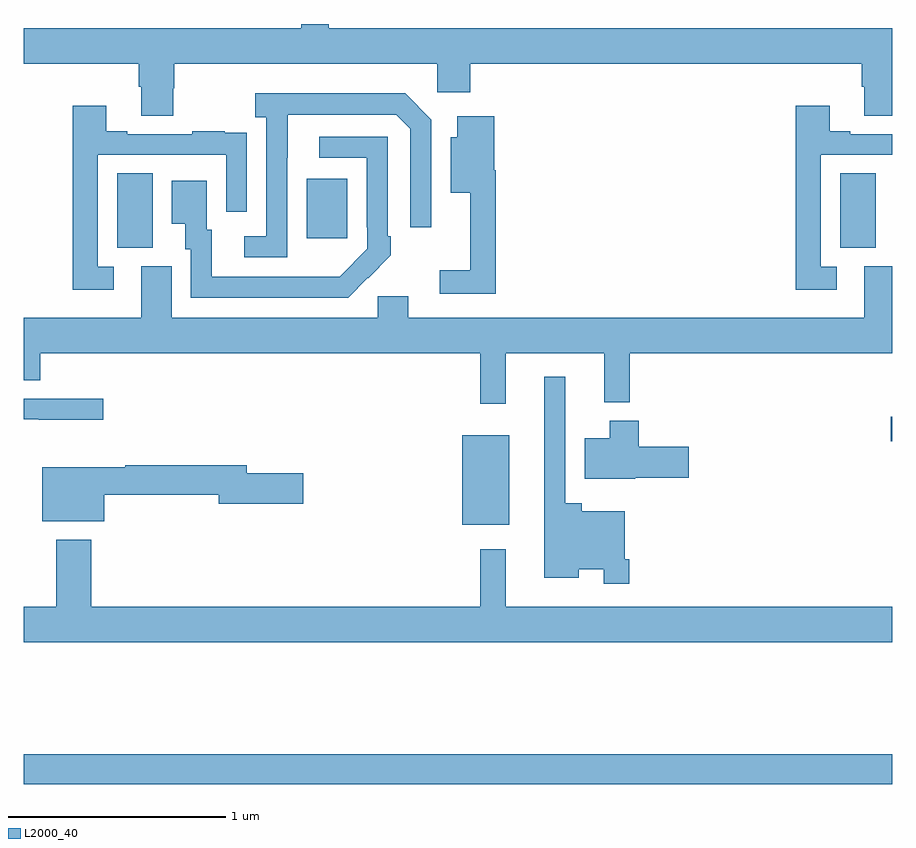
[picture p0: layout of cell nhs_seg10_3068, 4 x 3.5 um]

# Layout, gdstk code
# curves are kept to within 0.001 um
import gdstk
lib = gdstk.Library(unit=1e-6, precision=1e-09)
def R(c, l, rs):  # rectangles x0, y0, x1, y1
    for r in rs: c.add(gdstk.rectangle(r[:2], r[2:], *l))
def P(c, l, *ps):  # polygons
    for p in ps: c.add(gdstk.Polygon(p, *l))
L2000_40 = (2000, 40)

nhs_seg10_3068 = lib.new_cell('nhs_seg10_3068')
R(nhs_seg10_3068, L2000_40, [(277,1297,281,1297.136), (279.02,1298.195,279.235,1298.605), (280.994,1298.579,281,1298.692), (277.43,1299.469,277.594,1299.812), (280.76,1299.469,280.924,1299.812), (278.303,1299.513,278.491,1299.787)])
P(nhs_seg10_3068, L2000_40, [(278.904,1300.185),(279.056,1300.185),(279.056,1300.316),(280.859,1300.316),(280.859,1300.21),(280.871,1300.21),(280.871,1300.078),(281,1300.078),(281,1300.48),(278.405,1300.48),(278.405,1300.5),(278.277,1300.5),(278.277,1300.48),(277,1300.48),(277,1300.316),(277.529,1300.316),(277.529,1300.21),(277.541,1300.21),(277.541,1300.078),(277.689,1300.078),(277.689,1300.203),(277.694,1300.203),(277.694,1300.316),(278.904,1300.316)],
  [(278.214,1299.883),(278.215,1300.083),(278.715,1300.083),(278.781,1300.017),(278.781,1299.564),(278.877,1299.564),(278.877,1300.059),(278.756,1300.18),(278.067,1300.18),(278.067,1300.07),(278.118,1300.07),(278.118,1299.522),(278.016,1299.522),(278.016,1299.426),(278.214,1299.426)],
  [(280.744,1299.381),(280.671,1299.381),(280.671,1299.897),(281,1299.897),(281,1299.993),(280.807,1299.993),(280.807,1300.006),(280.711,1300.006),(280.711,1300.123),(280.555,1300.123),(280.555,1299.276),(280.744,1299.276)],
  [(277.414,1299.381),(277.341,1299.381),(277.341,1299.897),(277.932,1299.897),(277.932,1299.636),(278.028,1299.636),(278.028,1299.89),(278.027,1299.89),(278.027,1299.999),(277.925,1299.999),(277.925,1300.006),(277.777,1300.006),(277.777,1299.993),(277.477,1299.993),(277.477,1300.006),(277.381,1300.006),(277.381,1300.123),(277.225,1300.123),(277.225,1299.276),(277.414,1299.276)],
  [(279.173,1299.826),(279.167,1299.826),(279.167,1300.075),(278.996,1300.075),(278.996,1299.979),(278.966,1299.979),(278.966,1299.722),(279.056,1299.722),(279.056,1299.367),(278.916,1299.367),(278.916,1299.258),(279.173,1299.258)],
  [(278.585,1299.331),(278.586,1299.33),(278.691,1299.435),(278.691,1299.523),(278.676,1299.523),(278.676,1299.981),(278.361,1299.981),(278.361,1299.885),(278.58,1299.885),(278.58,1299.565),(278.583,1299.565),(278.583,1299.465),(278.455,1299.337),(277.867,1299.336),(277.867,1299.552),(277.843,1299.552),(277.843,1299.778),(277.682,1299.778),(277.682,1299.581),(277.745,1299.581),(277.745,1299.462),(277.77,1299.462),(277.77,1299.24),(278.494,1299.24)],
  [(279.221,1298.984),(279.674,1298.984),(279.674,1298.759),(279.791,1298.759),(279.791,1298.984),(281,1298.984),(281,1299.384),(280.871,1299.384),(280.871,1299.148),(278.77,1299.148),(278.77,1299.246),(278.631,1299.246),(278.631,1299.148),(277.681,1299.148),(277.681,1299.384),(277.541,1299.384),(277.541,1299.148),(277,1299.148),(277,1298.86),(277.076,1298.86),(277.076,1298.984),(279.103,1298.984),(279.103,1298.751),(279.221,1298.751)],
  [(279.788,1298.035),(279.768,1298.035),(279.768,1298.257),(279.569,1298.257),(279.569,1298.293),(279.495,1298.293),(279.495,1298.875),(279.398,1298.875),(279.398,1297.949),(279.556,1297.949),(279.556,1297.988),(279.672,1297.988),(279.672,1297.923),(279.788,1297.923)],
  [(277.366,1298.775),(277,1298.775),(277,1298.679),(277.069,1298.679),(277.069,1298.677),(277.366,1298.677)],
  [(279.816,1298.411),(280.063,1298.411),(280.063,1298.553),(279.833,1298.553),(279.833,1298.674),(279.698,1298.674),(279.698,1298.593),(279.584,1298.593),(279.584,1298.405),(279.816,1298.405)],
  [(277.372,1298.332),(277.898,1298.332),(277.898,1298.29),(278.287,1298.29),(278.287,1298.432),(278.026,1298.432),(278.026,1298.468),(277.468,1298.468),(277.468,1298.458),(277.085,1298.458),(277.085,1298.21),(277.372,1298.21)],
  [(281,1297.816),(279.22,1297.816),(279.22,1298.08),(279.103,1298.08),(279.103,1297.816),(277.31,1297.816),(277.31,1298.125),(277.15,1298.125),(277.15,1297.816),(277,1297.816),(277,1297.652),(281,1297.652)])

lib.write_gds('nhs_seg10_3068.gds')
